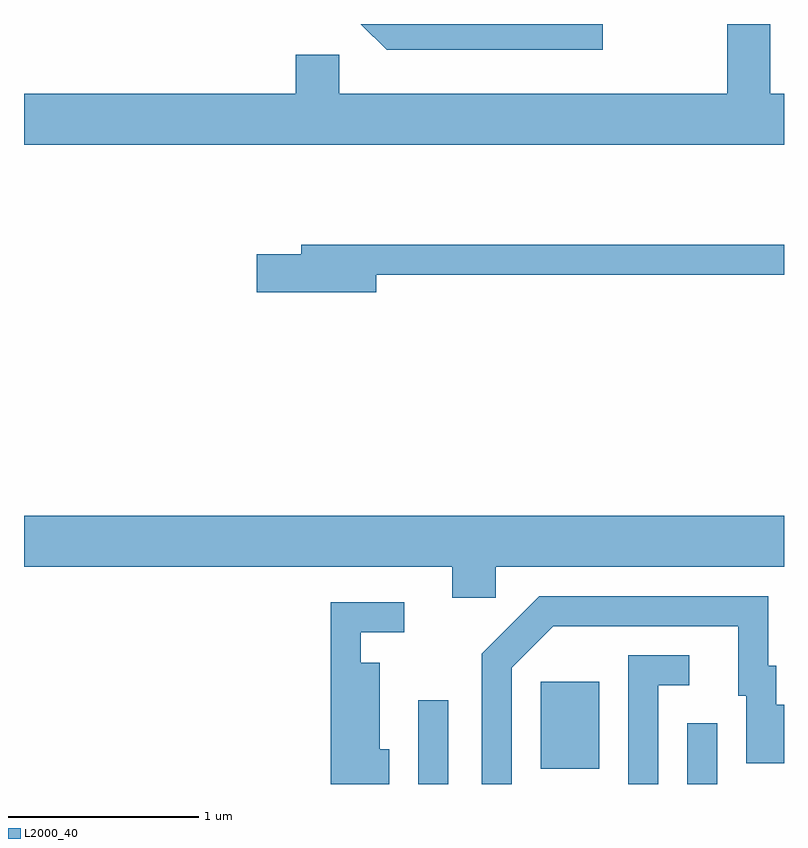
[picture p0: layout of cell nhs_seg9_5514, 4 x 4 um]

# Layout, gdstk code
import gdstk
lib = gdstk.Library(unit=1e-6, precision=1e-09)
def R(c, l, rs):  # rectangles x0, y0, x1, y1
    for r in rs: c.add(gdstk.rectangle(r[:2], r[2:], *l))
def P(c, l, *ps):  # polygons
    for p in ps: c.add(gdstk.Polygon(p, *l))
L2000_40 = (2000, 40)

nhs_seg9_5514 = lib.new_cell('nhs_seg9_5514')
R(nhs_seg9_5514, L2000_40, [(349.686,2008.432,349.844,2008.873), (351.101,2008.432,351.259,2008.753), (350.331,2008.511,350.639,2008.969)])
P(nhs_seg9_5514, L2000_40, [(350.658,2012.432),(349.383,2012.432),(349.519,2012.296),(350.658,2012.296)],
  [(351.611,2012.064),(351.539,2012.064),(351.539,2012.432),(351.311,2012.432),(351.311,2012.064),(349.269,2012.064),(349.269,2012.269),(349.041,2012.269),(349.041,2012.064),(347.611,2012.064),(347.611,2011.796),(351.611,2011.796)],
  [(349.464,2011.111),(351.611,2011.111),(351.611,2011.269),(349.071,2011.269),(349.071,2011.219),(348.836,2011.219),(348.836,2011.021),(349.464,2011.021)],
  [(350.094,2009.576),(351.611,2009.576),(351.611,2009.844),(347.611,2009.844),(347.611,2009.576),(349.866,2009.576),(349.866,2009.411),(350.094,2009.411)],
  [(350.179,2009.044),(350.397,2009.261),(351.371,2009.261),(351.371,2008.896),(351.411,2008.896),(351.411,2008.541),(351.611,2008.541),(351.611,2008.849),(351.569,2008.849),(351.569,2009.054),(351.529,2009.054),(351.529,2009.419),(350.324,2009.419),(350.021,2009.117),(350.021,2008.432),(350.179,2008.432)],
  [(349.534,2008.614),(349.484,2008.614),(349.484,2009.069),(349.384,2009.069),(349.384,2009.231),(349.613,2009.231),(349.613,2009.389),(349.226,2009.389),(349.226,2008.432),(349.534,2008.432)],
  [(350.949,2008.951),(351.113,2008.951),(351.113,2009.109),(350.791,2009.109),(350.791,2008.432),(350.949,2008.432)])

lib.write_gds('nhs_seg9_5514.gds')
